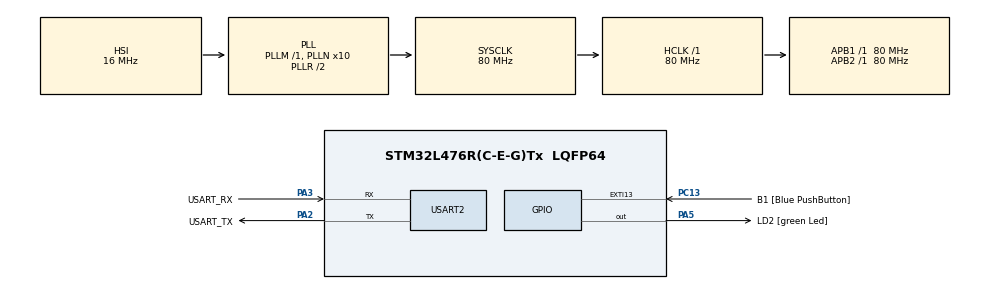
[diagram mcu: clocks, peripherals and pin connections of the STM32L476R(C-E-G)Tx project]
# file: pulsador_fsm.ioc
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Mcu.Family=STM32L4
Mcu.Name=STM32L476R(C-E-G)Tx
Mcu.Package=LQFP64
NVIC.PriorityGroup=NVIC_PRIORITYGROUP_4
PA13\ (JTMS-SWDIO).GPIO_Label=TMS
PA13\ (JTMS-SWDIO).Mode=Serial_Wire
PA13\ (JTMS-SWDIO).Signal=SYS_JTMS-SWDIO
PA14\ (JTCK-SWCLK).GPIO_Label=TCK
PA14\ (JTCK-SWCLK).Mode=Serial_Wire
PA14\ (JTCK-SWCLK).Signal=SYS_JTCK-SWCLK
PA2.GPIO_Label=USART_TX
PA2.GPIO_Mode=GPIO_MODE_AF_PP
PA2.GPIO_PuPd=GPIO_NOPULL
PA2.GPIO_Speed=GPIO_SPEED_FREQ_VERY_HIGH
PA2.Mode=Asynchronous
PA2.Signal=USART2_TX
PA3.GPIO_Label=USART_RX
PA3.GPIO_Mode=GPIO_MODE_AF_PP
PA3.GPIO_PuPd=GPIO_NOPULL
PA3.GPIO_Speed=GPIO_SPEED_FREQ_VERY_HIGH
PA3.Mode=Asynchronous
PA3.Signal=USART2_RX
PA5.GPIO_Label=LD2 [green Led]
PA5.GPIO_ModeDefaultOutputPP=GPIO_MODE_OUTPUT_PP
PA5.GPIO_PuPd=GPIO_NOPULL
PA5.GPIO_Speed=GPIO_SPEED_FREQ_LOW
PA5.Signal=GPIO_Output
PB3\ (JTDO-TRACESWO).GPIO_Label=SWO
PB3\ (JTDO-TRACESWO).Signal=SYS_JTDO-SWO
PC13.GPIO_Label=B1 [Blue PushButton]
PC13.GPIO_ModeDefaultEXTI=GPIO_MODE_IT_FALLING
PC13.GPIO_PuPd=GPIO_NOPULL
PC13.Signal=GPXTI13
PC14-OSC32_IN\ (PC14).Mode=LSE-External-Oscillator
PC14-OSC32_IN\ (PC14).Signal=RCC_OSC32_IN
PC15-OSC32_OUT\ (PC15).Mode=LSE-External-Oscillator
PC15-OSC32_OUT\ (PC15).Signal=RCC_OSC32_OUT
PH0-OSC_IN\ (PH0).Signal=RCC_OSC_IN
PH1-OSC_OUT\ (PH1).Signal=RCC_OSC_OUT
ProjectManager.HeapSize=0x200
ProjectManager.StackSize=0x400
ProjectManager.TargetToolchain=STM32CubeIDE
RCC.ADCFreq_Value=64000000
RCC.AHBFreq_Value=80000000
RCC.APB1Freq_Value=80000000
RCC.APB1TimFreq_Value=80000000
RCC.APB2Freq_Value=80000000
RCC.APB2TimFreq_Value=80000000
RCC.CortexFreq_Value=80000000
RCC.HCLKFreq_Value=80000000
RCC.HSE_VALUE=8000000
RCC.HSI_VALUE=16000000
RCC.MSI_VALUE=4000000
RCC.PLLN=10
RCC.PLLSourceVirtual=RCC_PLLSOURCE_HSI
RCC.PREFETCH_ENABLE=1
RCC.SYSCLKFreq_VALUE=80000000
RCC.SYSCLKSource=RCC_SYSCLKSOURCE_PLLCLK
RCC.USBFreq_Value=64000000
RCC.VCOOutputFreq_Value=160000000
USART2.VirtualMode-Asynchronous=VM_ASYNC
board=NUCLEO-L476RG

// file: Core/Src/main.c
/* USER CODE BEGIN Header */
/**
  ******************************************************************************
  * @file           : main.c
  * @brief          : Main program body
  ******************************************************************************
  * @attention
  *
  * <h2><center>&copy; Copyright (c) 2020 STMicroelectronics.
  * All rights reserved.</center></h2>
  *
  * This software component is licensed by ST under BSD 3-Clause license,
  * the "License"; You may not use this file except in compliance with the
  * License. You may obtain a copy of the License at:
  *                        opensource.org/licenses/BSD-3-Clause
  *
  ******************************************************************************
  */
/* USER CODE END Header */

#include "main.h"

UART_HandleTypeDef huart2;

void SystemClock_Config(void);
static void MX_GPIO_Init(void);
static void MX_USART2_UART_Init(void);

int main(void)
{

  /* MCU Configuration--------------------------------------------------------*/

  /* Reset of all peripherals, Initializes the Flash interface and the Systick. */
  HAL_Init();

  /* Configure the system clock */
  SystemClock_Config();

  /* Initialize all configured peripherals */
  MX_GPIO_Init();
  MX_USART2_UART_Init();
  /* USER CODE BEGIN 2 */

  uint8_t cuenta = 0;
  current_state = LED_OFF_UP;

  /* USER CODE END 2 */

  /* Infinite loop */
  while (1)
  {

	current_input = get_input();

	switch (current_state) {
		case LED_OFF_UP:
			switch (current_input) {
				case PB_DOWN:
					current_state = LED_OFF_DOWN;
					cuenta++;
					break;
				default:
					current_state = LED_OFF_UP;
			}
			break;
		case LED_OFF_DOWN:
			switch (current_input) {
				case PB_DOWN:
					current_state = LED_OFF_DOWN;
					break;
				default:
					current_state = LED_ON_UP;
			}
			break;
		case LED_ON_UP:
			switch (current_input) {
				case PB_DOWN:
					current_state = LED_ON_DOWN;
					cuenta++;
					break;
				default:
					current_state = LED_ON_UP;
			}
			break;
		case LED_ON_DOWN:
			switch (current_input) {
				case PB_DOWN:
					current_state = LED_ON_DOWN;
					break;
				default:
					current_state = LED_OFF_UP;
			}
			break;
	}

	set_output(current_state);

  }
}

void SystemClock_Config(void)
{
  RCC_OscInitTypeDef RCC_OscInitStruct = {0};
  RCC_ClkInitTypeDef RCC_ClkInitStruct = {0};
  RCC_PeriphCLKInitTypeDef PeriphClkInit = {0};

  /** Initializes the CPU, AHB and APB busses clocks
  */
  RCC_OscInitStruct.OscillatorType = RCC_OSCILLATORTYPE_HSI;
  RCC_OscInitStruct.HSIState = RCC_HSI_ON;
  RCC_OscInitStruct.HSICalibrationValue = RCC_HSICALIBRATION_DEFAULT;
  RCC_OscInitStruct.PLL.PLLState = RCC_PLL_ON;
  RCC_OscInitStruct.PLL.PLLSource = RCC_PLLSOURCE_HSI;
  RCC_OscInitStruct.PLL.PLLM = 1;
  RCC_OscInitStruct.PLL.PLLN = 10;
  RCC_OscInitStruct.PLL.PLLP = RCC_PLLP_DIV7;
  RCC_OscInitStruct.PLL.PLLQ = RCC_PLLQ_DIV2;
  RCC_OscInitStruct.PLL.PLLR = RCC_PLLR_DIV2;
  if (HAL_RCC_OscConfig(&RCC_OscInitStruct) != HAL_OK)
  {
    Error_Handler();
  }
  /** Initializes the CPU, AHB and APB busses clocks
  */
  RCC_ClkInitStruct.ClockType = RCC_CLOCKTYPE_HCLK|RCC_CLOCKTYPE_SYSCLK
                              |RCC_CLOCKTYPE_PCLK1|RCC_CLOCKTYPE_PCLK2;
  RCC_ClkInitStruct.SYSCLKSource = RCC_SYSCLKSOURCE_PLLCLK;
  RCC_ClkInitStruct.AHBCLKDivider = RCC_SYSCLK_DIV1;
  RCC_ClkInitStruct.APB1CLKDivider = RCC_HCLK_DIV1;
  RCC_ClkInitStruct.APB2CLKDivider = RCC_HCLK_DIV1;

  if (HAL_RCC_ClockConfig(&RCC_ClkInitStruct, FLASH_LATENCY_4) != HAL_OK)
  {
    Error_Handler();
  }
  PeriphClkInit.PeriphClockSelection = RCC_PERIPHCLK_USART2;
  PeriphClkInit.Usart2ClockSelection = RCC_USART2CLKSOURCE_PCLK1;
  if (HAL_RCCEx_PeriphCLKConfig(&PeriphClkInit) != HAL_OK)
  {
    Error_Handler();
  }
  /** Configure the main internal regulator output voltage
  */
  if (HAL_PWREx_ControlVoltageScaling(PWR_REGULATOR_VOLTAGE_SCALE1) != HAL_OK)
  {
    Error_Handler();
  }
}

static void MX_USART2_UART_Init(void)
{

  huart2.Instance = USART2;
  huart2.Init.BaudRate = 115200;
  huart2.Init.WordLength = UART_WORDLENGTH_8B;
  huart2.Init.StopBits = UART_STOPBITS_1;
  huart2.Init.Parity = UART_PARITY_NONE;
  huart2.Init.Mode = UART_MODE_TX_RX;
  huart2.Init.HwFlowCtl = UART_HWCONTROL_NONE;
  huart2.Init.OverSampling = UART_OVERSAMPLING_16;
  huart2.Init.OneBitSampling = UART_ONE_BIT_SAMPLE_DISABLE;
  huart2.AdvancedInit.AdvFeatureInit = UART_ADVFEATURE_NO_INIT;
  if (HAL_UART_Init(&huart2) != HAL_OK)
  {
    Error_Handler();
  }

}

static void MX_GPIO_Init(void)
{
  GPIO_InitTypeDef GPIO_InitStruct = {0};

  /* GPIO Ports Clock Enable */
  __HAL_RCC_GPIOC_CLK_ENABLE();
  __HAL_RCC_GPIOH_CLK_ENABLE();
  __HAL_RCC_GPIOA_CLK_ENABLE();
  __HAL_RCC_GPIOB_CLK_ENABLE();

  /*Configure GPIO pin Output Level */
  HAL_GPIO_WritePin(LD2_GPIO_Port, LD2_Pin, GPIO_PIN_RESET);

  /*Configure GPIO pin : B1_Pin */
  GPIO_InitStruct.Pin = B1_Pin;
  GPIO_InitStruct.Mode = GPIO_MODE_IT_FALLING;
  GPIO_InitStruct.Pull = GPIO_NOPULL;
  HAL_GPIO_Init(B1_GPIO_Port, &GPIO_InitStruct);

  /*Configure GPIO pin : LD2_Pin */
  GPIO_InitStruct.Pin = LD2_Pin;
  GPIO_InitStruct.Mode = GPIO_MODE_OUTPUT_PP;
  GPIO_InitStruct.Pull = GPIO_NOPULL;
  GPIO_InitStruct.Speed = GPIO_SPEED_FREQ_LOW;
  HAL_GPIO_Init(LD2_GPIO_Port, &GPIO_InitStruct);

}

/* USER CODE BEGIN 4 */

int8_t get_input(void) {
	if (!HAL_GPIO_ReadPin(B1_GPIO_Port, B1_Pin))
		return PB_DOWN;
	else
		return PB_UP;
}

void set_output(int8_t current_state) {
	switch (current_state) {
		case LED_ON_UP:
		case LED_ON_DOWN:
			HAL_GPIO_WritePin(LD2_GPIO_Port, LD2_Pin, SET);
			break;
		case LED_OFF_UP:
		case LED_OFF_DOWN:
			HAL_GPIO_WritePin(LD2_GPIO_Port, LD2_Pin, RESET);
			break;
	}
}

/* USER CODE END 4 */

void Error_Handler(void)
{
}

/************************ (C) COPYRIGHT STMicroelectronics *****END OF FILE****/
